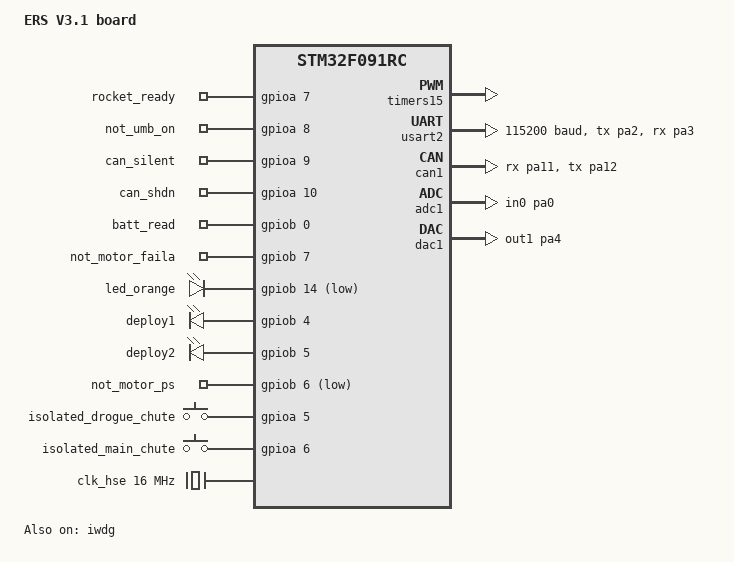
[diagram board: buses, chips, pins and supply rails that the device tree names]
/*
 * @file
 * SPDX-License-Identifier: Apache-2.0
 */

/dts-v1/;
#include <st/f0/stm32f091Xc.dtsi>
#include <st/f0/stm32f091r(b-c)tx-pinctrl.dtsi>
#include <zephyr/dt-bindings/input/input-event-codes.h>

// TODO [ ] determine whether needed and how used:

/ {
        model = "ERS V3.1 board";
        compatible = "st,stm32f091rc-nucleo";

        chosen {
                zephyr,console = &usart2;
                zephyr,shell-uart = &usart2;
                zephyr,sram = &sram0;
                zephyr,flash = &flash0;
                zephyr,canbus = &can1;
                zephyr,dac = &dac1;
	};

	ers-gpios {
		compatible = "psas,ers-gpios", "gpio-keys";

		rocket_ready: rocket_ready {
			gpios = <&gpioa 7 0>;
		};

		not_umb_on: not_umb_on {
			gpios = <&gpioa 8 0>;
		};

		can_silent: can_silent {
			gpios = <&gpioa 9 0>;
		};

		can_shdn: can_shdn {
			gpios = <&gpioa 10 0>;
		};

		batt_read: batt_read {
			gpios = <&gpiob 0 0>;
		};

		not_motor_faila: not_motor_faila {
			gpios = <&gpiob 7 0>;
		};
	};

	leds {
		compatible = "gpio-leds";
		led_orange: led_orange {
			gpios = <&gpiob 14 GPIO_ACTIVE_LOW>;
		};

		deploy1: deploy1 {
			gpios = <&gpiob 4 0>;
		};

		deploy2: deploy2 {
			gpios = <&gpiob 5 0>;
		};

		not_motor_ps: not_motor_ps {
			gpios = <&gpiob 6 GPIO_ACTIVE_LOW>;
		};

	};

	gpio_keys {
		compatible = "gpio-keys";
		iso_drogue: iso_drogue {
			label = "isolated_drogue_chute";
			gpios = <&gpioa 5 GPIO_ACTIVE_HIGH>;
			zephyr,code = <INPUT_KEY_0>;
		};

		iso_main: iso_main {
			label = "isolated_main_chute";
			gpios = <&gpioa 6 0>;
			zephyr,code = <INPUT_KEY_1>;
		};
	};
};

&timers15 {
        st,prescaler = <10000>;
        status = "okay";

        pwm1: pwm {
                pinctrl-0 = <&tim15_ch1_pb14>;
                pinctrl-names = "default";
        };

        pwm2: pwm {
                /* NOTE: disabled by default, PWM2 conflicts with SPI1 */
                pinctrl-0 = <&tim15_ch2_pb15>;
                pinctrl-names = "default";
        };
};

/ {
        pwmleds: pwmleds {
                compatible = "pwm-leds";
                status = "disabled";

/// Note with this arrangement buzzer works but orange LED does not show PWM signal:
                pwm_led_orange: pwm_led_orange {
			pwms = <&pwm1 2 PWM_MSEC(20) PWM_POLARITY_NORMAL>;
		};

                pwm_buzzer: pwm_buzzer {
                        pwms = <&pwm2 2 PWM_MSEC(20) PWM_POLARITY_NORMAL>;
                };
        };

	aliases {
        	led0 = &led_orange;
		buzzer = &pwm_buzzer;
		sw0 = &iso_drogue;
		sw1 = &iso_main;
		sw2 = &not_umb_on;
		sw3 = &not_motor_faila;
		dout1 = &deploy1;
		dout2 = &deploy2;
		dout3 = &not_motor_ps;
	};
};

&clk_hse {
        /delete-property/ hse-bypass;
        clock-frequency = <DT_FREQ_M(16)>; // ERS board 16MHz crystal
        status = "okay";
};

&clk_lsi {
        status = "okay";
};

&pll {
        prediv = <1>;
        mul = <3>;
        clocks = <&clk_hse>;
        status = "okay";
};

&rcc {
        clocks = <&pll>;
        clock-frequency = <DT_FREQ_M(48)>;
        ahb-prescaler = <1>;
        apb1-prescaler = <1>;
        status = "okay";
};

&usart2 {
        pinctrl-0 = <&usart2_tx_pa2 &usart2_rx_pa3>;
        pinctrl-names = "default";
        current-speed = <115200>;
        status = "okay";
};

&iwdg {
        status = "okay";
};

&can1 {
        pinctrl-0 = <&can_rx_pa11 &can_tx_pa12>;
        pinctrl-names = "default";
        status = "okay";
};

&flash0 {
        partitions {
                compatible = "fixed-partitions";
                #address-cells = <1>;
                #size-cells = <1>;

                /* Set 6Kb of storage at the end of the 256Kb of flash */
                storage_partition: partition@3e800 {
                        label = "storage";
                        reg = <0x0003e800 DT_SIZE_K(6)>;
                };
        };
};

&adc1 {
        pinctrl-0 = <&adc_in0_pa0>;
        pinctrl-names = "default";
	// for Zephyr 3.7.0 the symbol SYNC requires arrow brackets:
        st,adc-clock-source = <SYNC>;
	// for Zephyr 4.3.0 the symbol SYNC requires double quotes:
        // st,adc-clock-source = "SYNC";
        st,adc-prescaler = <4>;
        status = "okay";
};

&dac1 {
        status = "okay";
        pinctrl-0 = <&dac_out1_pa4>;
        pinctrl-names = "default";
};
